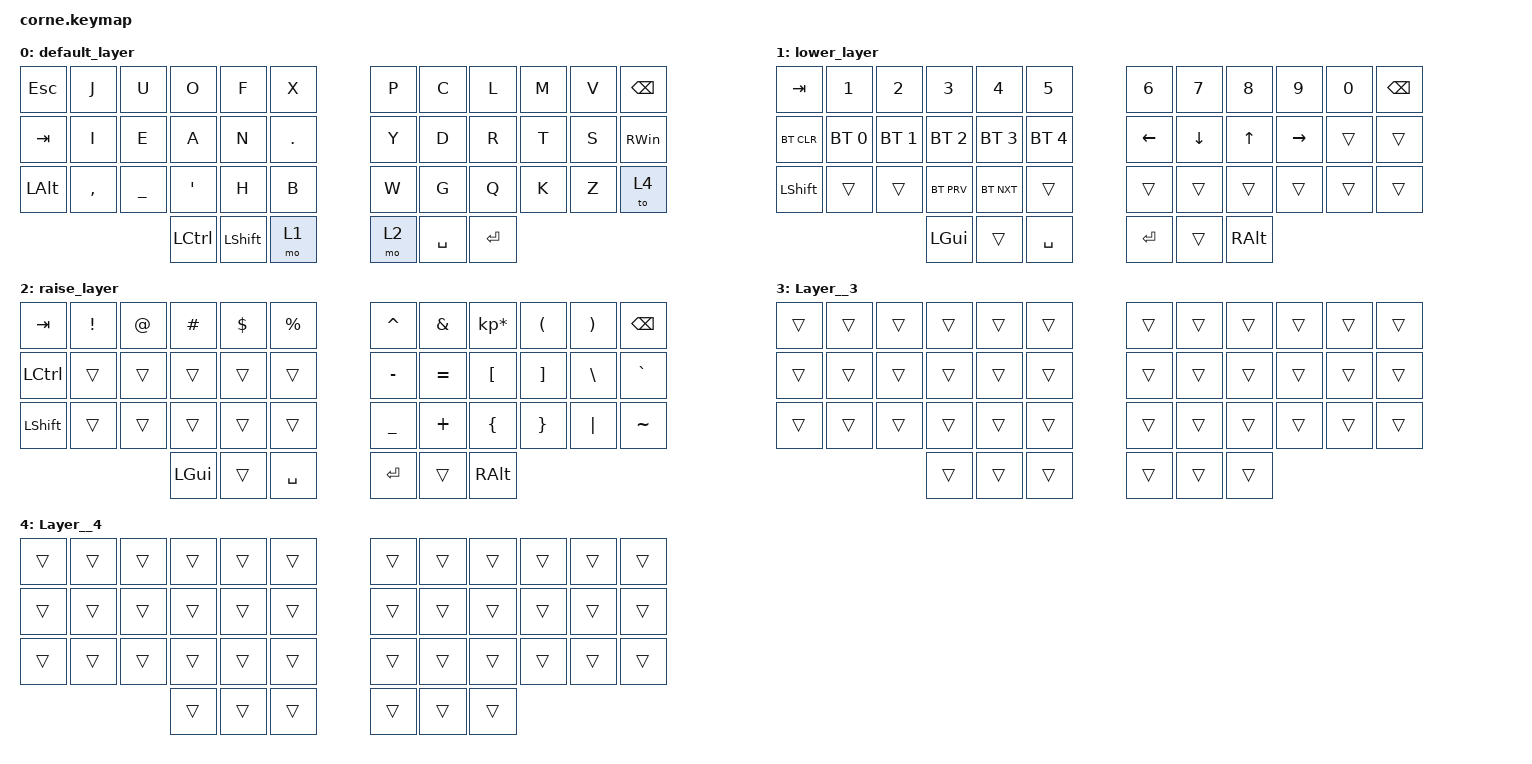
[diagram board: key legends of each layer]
/*
 * Copyright (c) 2020 The ZMK Contributors
 *
 * SPDX-License-Identifier: MIT
 */

#include <behaviors.dtsi>
#include <dt-bindings/zmk/keys.h>
#include <dt-bindings/zmk/bt.h>

/ {
    keymap {
        compatible = "zmk,keymap";

        default_layer {
            // -----------------------------------------------------------------------------------------
            // |  TAB |  Q  |  W  |  E  |  R  |  T  |   |  Y  |  U   |  I  |  O  |  P  | BKSP |
            // | CTRL |  A  |  S  |  D  |  F  |  G  |   |  H  |  J   |  K  |  L  |  ;  |  '   |
            // | SHFT |  Z  |  X  |  C  |  V  |  B  |   |  N  |  M   |  ,  |  .  |  /  | ESC  |
            //                    | GUI | LWR | SPC |   | ENT | RSE  | ALT |

            bindings = <
      &kp ESC      &kp J      &kp U             &kp O           &kp F       &kp X   &kp P      &kp C      &kp L   &kp M   &kp V  &kp BACKSPACE
      &kp TAB      &kp I      &kp E             &kp A           &kp N  &kp PERIOD   &kp Y      &kp D      &kp R   &kp T   &kp S  &kp RIGHT_WIN
 &kp LEFT_ALT  &kp COMMA  &kp UNDER  &kp SINGLE_QUOTE           &kp H       &kp B   &kp W      &kp G      &kp Q   &kp K   &kp Z          &to 4
                                     &kp LEFT_CONTROL  &kp LEFT_SHIFT       &mo 1   &mo 2  &kp SPACE  &kp ENTER
            >;
        };

        lower_layer {
            // -----------------------------------------------------------------------------------------
            // |  TAB |  1  |  2  |  3  |  4  |  5  |   |  6  |  7  |  8  |  9  |  0  | BKSP |
            // | BTCLR| BT1 | BT2 | BT3 | BT4 | BT5 |   | LFT | DWN |  UP | RGT |     |      |
            // | SHFT |     |     |     |     |     |   |     |     |     |     |     |      |
            //                    | GUI |     | SPC |   | ENT |     | ALT |

            bindings = <
    &kp TAB        &kp N1        &kp N2        &kp N3        &kp N4        &kp N5    &kp N6    &kp N7    &kp N8     &kp N9  &kp N0  &kp BSPC
 &bt BT_CLR  &bt BT_SEL 0  &bt BT_SEL 1  &bt BT_SEL 2  &bt BT_SEL 3  &bt BT_SEL 4  &kp LEFT  &kp DOWN    &kp UP  &kp RIGHT  &trans    &trans
  &kp LSHFT        &trans        &trans    &bt BT_PRV    &bt BT_NXT        &trans    &trans    &trans    &trans     &trans  &trans    &trans
                                             &kp LGUI        &trans     &kp SPACE   &kp RET    &trans  &kp RALT
            >;
        };

        raise_layer {
            // -----------------------------------------------------------------------------------------
            // |  TAB |  !  |  @  |  #  |  $  |  %  |   |  ^  |  &  |  *  |  (  |  )  | BKSP |
            // | CTRL |     |     |     |     |     |   |  -  |  =  |  [  |  ]  |  \  |  `   |
            // | SHFT |     |     |     |     |     |   |  _  |  +  |  {  |  }  | "|" |  ~   |
            //                    | GUI |     | SPC |   | ENT |     | ALT |

            bindings = <
   &kp TAB  &kp EXCL  &kp AT  &kp HASH  &kp DLLR  &kp PRCNT  &kp CARET   &kp AMPS  &kp KP_MULTIPLY  &kp LPAR  &kp RPAR   &kp BSPC
 &kp LCTRL    &trans  &trans    &trans    &trans     &trans  &kp MINUS  &kp EQUAL         &kp LBKT  &kp RBKT  &kp BSLH  &kp GRAVE
 &kp LSHFT    &trans  &trans    &trans    &trans     &trans  &kp UNDER   &kp PLUS         &kp LBRC  &kp RBRC  &kp PIPE  &kp TILDE
                              &kp LGUI    &trans  &kp SPACE    &kp RET     &trans         &kp RALT
            >;
        };

        Layer__3 {
            bindings = <
 &trans  &trans  &trans  &trans  &trans  &trans  &trans  &trans  &trans  &trans  &trans  &trans
 &trans  &trans  &trans  &trans  &trans  &trans  &trans  &trans  &trans  &trans  &trans  &trans
 &trans  &trans  &trans  &trans  &trans  &trans  &trans  &trans  &trans  &trans  &trans  &trans
                         &trans  &trans  &trans  &trans  &trans  &trans
            >;
        };

        Layer__4 {
            bindings = <
 &trans  &trans  &trans  &trans  &trans  &trans  &trans  &trans  &trans  &trans  &trans  &trans
 &trans  &trans  &trans  &trans  &trans  &trans  &trans  &trans  &trans  &trans  &trans  &trans
 &trans  &trans  &trans  &trans  &trans  &trans  &trans  &trans  &trans  &trans  &trans  &trans
                         &trans  &trans  &trans  &trans  &trans  &trans
            >;
        };
    };
};

&nice_view_spi {
    cs-gpios = <&pro_micro 0 GPIO_ACTIVE_HIGH>;
};
